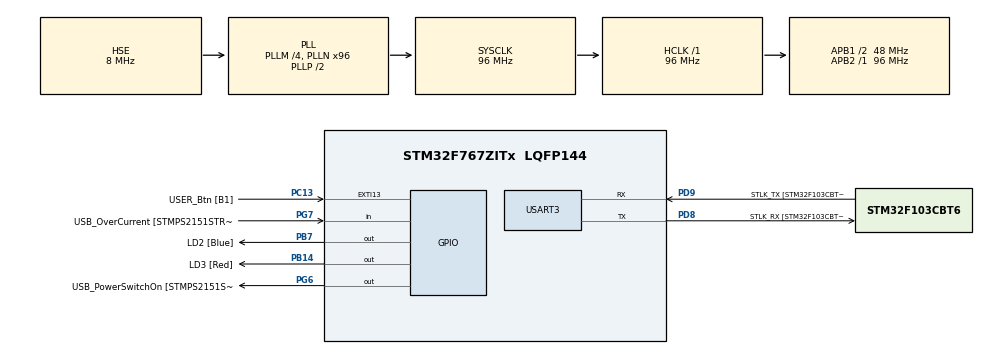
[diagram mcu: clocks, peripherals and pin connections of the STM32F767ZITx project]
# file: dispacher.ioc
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Mcu.Family=STM32F7
Mcu.Name=STM32F767ZITx
Mcu.Package=LQFP144
NVIC.PriorityGroup=NVIC_PRIORITYGROUP_4
NVIC.TIM3_IRQn=true\:0\:0\:false\:false\:true\:true\:true
PA1.GPIO_Label=RMII_REF_CLK [LAN8742A-CZ-TR_REFCLK0]
PA1.Signal=ETH_REF_CLK
PA10.GPIO_Label=USB_ID
PA10.Signal=USB_OTG_FS_ID
PA11.GPIO_Label=USB_DM
PA11.Signal=USB_OTG_FS_DM
PA12.GPIO_Label=USB_DP
PA12.Signal=USB_OTG_FS_DP
PA13.GPIO_Label=TMS
PA13.Mode=Serial_Wire
PA13.Signal=SYS_JTMS-SWDIO
PA14.GPIO_Label=TCK
PA14.Mode=Serial_Wire
PA14.Signal=SYS_JTCK-SWCLK
PA2.GPIO_Label=RMII_MDIO [LAN8742A-CZ-TR_MDIO]
PA2.Signal=ETH_MDIO
PA7.GPIO_Label=RMII_CRS_DV [LAN8742A-CZ-TR_CRS_DV]
PA7.Signal=ETH_CRS_DV
PA8.GPIO_Label=USB_SOF [TP1]
PA8.Signal=USB_OTG_FS_SOF
PA9.GPIO_Label=USB_VBUS
PA9.Signal=USB_OTG_FS_VBUS
PB13.GPIO_Label=RMII_TXD1 [LAN8742A-CZ-TR_TXD1]
PB13.Signal=ETH_TXD1
PB14.GPIO_Label=LD3 [Red]
PB14.Signal=GPIO_Output
PB3.GPIO_Label=SWO
PB3.Signal=SYS_JTDO-SWO
PB7.GPIO_Label=LD2 [Blue]
PB7.Signal=GPIO_Output
PC1.GPIO_Label=RMII_MDC [LAN8742A-CZ-TR_MDC]
PC1.Signal=ETH_MDC
PC13.GPIO_Label=USER_Btn [B1]
PC13.Signal=GPXTI13
PC14/OSC32_IN.Mode=LSE-External-Oscillator
PC14/OSC32_IN.Signal=RCC_OSC32_IN
PC15/OSC32_OUT.Mode=LSE-External-Oscillator
PC15/OSC32_OUT.Signal=RCC_OSC32_OUT
PC4.GPIO_Label=RMII_RXD0 [LAN8742A-CZ-TR_RXD0]
PC4.Signal=ETH_RXD0
PC5.GPIO_Label=RMII_RXD1 [LAN8742A-CZ-TR_RXD1]
PC5.Signal=ETH_RXD1
PD8.GPIO_Label=STLK_RX [STM32F103CBT6_PA3]
PD8.Mode=Asynchronous
PD8.Signal=USART3_TX
PD9.GPIO_Label=STLK_TX [STM32F103CBT6_PA2]
PD9.Mode=Asynchronous
PD9.Signal=USART3_RX
PG11.GPIO_Label=RMII_TX_EN [LAN8742A-CZ-TR_TXEN]
PG11.Signal=ETH_TX_EN
PG13.GPIO_Label=RMII_TXD0 [LAN8742A-CZ-TR_TXD0]
PG13.Signal=ETH_TXD0
PG6.GPIO_Label=USB_PowerSwitchOn [STMPS2151STR_EN]
PG6.Signal=GPIO_Output
PG7.GPIO_Label=USB_OverCurrent [STMPS2151STR_FAULT]
PG7.Signal=GPIO_Input
PH0/OSC_IN.GPIO_Label=MCO [STM32F103CBT6_PA8]
PH0/OSC_IN.Mode=HSE-External-Clock-Source
PH0/OSC_IN.Signal=RCC_OSC_IN
PH1/OSC_OUT.Mode=HSE-External-Clock-Source
PH1/OSC_OUT.Signal=RCC_OSC_OUT
ProjectManager.HeapSize=0x200
ProjectManager.StackSize=0x400
ProjectManager.TargetToolchain=STM32CubeIDE
RCC.48MHZClocksFreq_Value=24000000
RCC.AHBFreq_Value=96000000
RCC.APB1CLKDivider=RCC_HCLK_DIV2
RCC.APB1Freq_Value=48000000
RCC.APB1TimFreq_Value=96000000
RCC.APB2Freq_Value=96000000
RCC.APB2TimFreq_Value=96000000
RCC.CortexFreq_Value=96000000
RCC.HCLKFreq_Value=96000000
RCC.HSE_VALUE=8000000
RCC.HSI_VALUE=16000000
RCC.PLLM=4
RCC.PLLMUL=RCC_PLL_MUL9
RCC.PLLN=96
RCC.PLLQ=4
RCC.PLLSourceVirtual=RCC_PLLSOURCE_HSE
RCC.PRESCALERUSB=RCC_USBCLKSOURCE_PLL_DIV1_5
RCC.SYSCLKFreq_VALUE=96000000
RCC.SYSCLKSource=RCC_SYSCLKSOURCE_PLLCLK
RCC.SYSCLKSourceVirtual=RCC_SYSCLKSOURCE_PLLCLK
RCC.USBFreq_Value=48000000
RCC.VCOOutputFreq_Value=192000000
TIM3.Period=47619
USART3.VirtualMode-Asynchronous=VM_ASYNC
VP_TIM3_VS_ClockSourceINT.Mode=Internal
board=NUCLEO-F767ZI

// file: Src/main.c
/* USER CODE BEGIN Header */
/**
  ******************************************************************************
  * @file           : main.c
  * @brief          : Main program body
  ******************************************************************************
  * @attention
  *
  * <h2><center>&copy; Copyright (c) 2020 STMicroelectronics.
  * All rights reserved.</center></h2>
  *
  * This software component is licensed by ST under BSD 3-Clause license,
  * the "License"; You may not use this file except in compliance with the
  * License. You may obtain a copy of the License at:
  *                        opensource.org/licenses/BSD-3-Clause
  *
  ******************************************************************************
  */
/* USER CODE END Header */

#include "main.h"
#include <stdlib.h>
#include <string.h>

/* USER CODE BEGIN PTD */

typedef struct node {
    char* message;
    char* dep;
    struct node * next;

} node;

/* USER CODE END PTD */

node* head1 = NULL;

node* head2=NULL;

TIM_HandleTypeDef htim3;

UART_HandleTypeDef huart3;

void SystemClock_Config(void);
static void MX_GPIO_Init(void);
static void MX_USART3_UART_Init(void);
static void MX_TIM3_Init(void);
char* callto ();
char* message();
void print_list (node *head);
node* CreateNode(node* head ,char* message,char* dep);
node* DeleteLastNode(node* head);

/* USER CODE BEGIN 0 */
void HAL_TIM_PeriodElapsedCallback(TIM_HandleTypeDef *htim)
{

		if(head2!=NULL)
			{
				print_list(head2);
				DeleteLastNode(head2);
			}

}
/* USER CODE END 0 */

int main(void)
{

  /* MCU Configuration--------------------------------------------------------*/

  /* Reset of all peripherals, Initializes the Flash interface and the Systick. */
  HAL_Init();

  /* Configure the system clock */
  SystemClock_Config();

  /* Initialize all configured peripherals */
  MX_GPIO_Init();
  MX_USART3_UART_Init();
  MX_TIM3_Init();
  /* USER CODE BEGIN 2 */
  HAL_TIM_Base_Start_IT(&htim3);
  /* USER CODE END 2 */

  /* Infinite loop */
  /* USER CODE BEGIN WHILE */
  while (1)
  {
		char* dep; //call to
		char* mes;
		if(head1==NULL)
		{
		dep= callto();
		mes=message();
		head1=CreateNode(head1,mes,dep);
		}
		if(head2==NULL)
		{
			head2=DeleteLastNode(head1);
		}
    /* USER CODE END WHILE */

  }
}

void SystemClock_Config(void)
{
  RCC_OscInitTypeDef RCC_OscInitStruct = {0};
  RCC_ClkInitTypeDef RCC_ClkInitStruct = {0};
  RCC_PeriphCLKInitTypeDef PeriphClkInitStruct = {0};

  /** Configure LSE Drive Capability
  */
  HAL_PWR_EnableBkUpAccess();
  /** Configure the main internal regulator output voltage
  */
  __HAL_RCC_PWR_CLK_ENABLE();
  __HAL_PWR_VOLTAGESCALING_CONFIG(PWR_REGULATOR_VOLTAGE_SCALE3);
  /** Initializes the CPU, AHB and APB busses clocks
  */
  RCC_OscInitStruct.OscillatorType = RCC_OSCILLATORTYPE_HSE;
  RCC_OscInitStruct.HSEState = RCC_HSE_BYPASS;
  RCC_OscInitStruct.PLL.PLLState = RCC_PLL_ON;
  RCC_OscInitStruct.PLL.PLLSource = RCC_PLLSOURCE_HSE;
  RCC_OscInitStruct.PLL.PLLM = 4;
  RCC_OscInitStruct.PLL.PLLN = 96;
  RCC_OscInitStruct.PLL.PLLP = RCC_PLLP_DIV2;
  RCC_OscInitStruct.PLL.PLLQ = 4;
  if (HAL_RCC_OscConfig(&RCC_OscInitStruct) != HAL_OK)
  {
    Error_Handler();
  }
  /** Activate the Over-Drive mode
  */
  if (HAL_PWREx_EnableOverDrive() != HAL_OK)
  {
    Error_Handler();
  }
  /** Initializes the CPU, AHB and APB busses clocks
  */
  RCC_ClkInitStruct.ClockType = RCC_CLOCKTYPE_HCLK|RCC_CLOCKTYPE_SYSCLK
                              |RCC_CLOCKTYPE_PCLK1|RCC_CLOCKTYPE_PCLK2;
  RCC_ClkInitStruct.SYSCLKSource = RCC_SYSCLKSOURCE_PLLCLK;
  RCC_ClkInitStruct.AHBCLKDivider = RCC_SYSCLK_DIV1;
  RCC_ClkInitStruct.APB1CLKDivider = RCC_HCLK_DIV2;
  RCC_ClkInitStruct.APB2CLKDivider = RCC_HCLK_DIV1;

  if (HAL_RCC_ClockConfig(&RCC_ClkInitStruct, FLASH_LATENCY_3) != HAL_OK)
  {
    Error_Handler();
  }
  PeriphClkInitStruct.PeriphClockSelection = RCC_PERIPHCLK_USART3;
  PeriphClkInitStruct.Usart3ClockSelection = RCC_USART3CLKSOURCE_PCLK1;
  if (HAL_RCCEx_PeriphCLKConfig(&PeriphClkInitStruct) != HAL_OK)
  {
    Error_Handler();
  }
}

static void MX_TIM3_Init(void)
{

  TIM_ClockConfigTypeDef sClockSourceConfig = {0};
  TIM_MasterConfigTypeDef sMasterConfig = {0};

  htim3.Instance = TIM3;
  htim3.Init.Prescaler = 150;
  htim3.Init.CounterMode = TIM_COUNTERMODE_UP;
  htim3.Init.Period = 53191;
  htim3.Init.ClockDivision = TIM_CLOCKDIVISION_DIV1;
  htim3.Init.AutoReloadPreload = TIM_AUTORELOAD_PRELOAD_ENABLE;
  if (HAL_TIM_Base_Init(&htim3) != HAL_OK)
  {
    Error_Handler();
  }
  sClockSourceConfig.ClockSource = TIM_CLOCKSOURCE_INTERNAL;
  if (HAL_TIM_ConfigClockSource(&htim3, &sClockSourceConfig) != HAL_OK)
  {
    Error_Handler();
  }
  sMasterConfig.MasterOutputTrigger = TIM_TRGO_RESET;
  sMasterConfig.MasterSlaveMode = TIM_MASTERSLAVEMODE_DISABLE;
  if (HAL_TIMEx_MasterConfigSynchronization(&htim3, &sMasterConfig) != HAL_OK)
  {
    Error_Handler();
  }

}

static void MX_USART3_UART_Init(void)
{

  huart3.Instance = USART3;
  huart3.Init.BaudRate = 115200;
  huart3.Init.WordLength = UART_WORDLENGTH_8B;
  huart3.Init.StopBits = UART_STOPBITS_1;
  huart3.Init.Parity = UART_PARITY_NONE;
  huart3.Init.Mode = UART_MODE_TX_RX;
  huart3.Init.HwFlowCtl = UART_HWCONTROL_NONE;
  huart3.Init.OverSampling = UART_OVERSAMPLING_16;
  huart3.Init.OneBitSampling = UART_ONE_BIT_SAMPLE_DISABLE;
  huart3.AdvancedInit.AdvFeatureInit = UART_ADVFEATURE_NO_INIT;
  if (HAL_UART_Init(&huart3) != HAL_OK)
  {
    Error_Handler();
  }

}

static void MX_GPIO_Init(void)
{
  GPIO_InitTypeDef GPIO_InitStruct = {0};

  /* GPIO Ports Clock Enable */
  __HAL_RCC_GPIOC_CLK_ENABLE();
  __HAL_RCC_GPIOH_CLK_ENABLE();
  __HAL_RCC_GPIOA_CLK_ENABLE();
  __HAL_RCC_GPIOB_CLK_ENABLE();
  __HAL_RCC_GPIOD_CLK_ENABLE();
  __HAL_RCC_GPIOG_CLK_ENABLE();

  /*Configure GPIO pin Output Level */
  HAL_GPIO_WritePin(GPIOB, LD3_Pin|LD2_Pin, GPIO_PIN_RESET);

  /*Configure GPIO pin Output Level */
  HAL_GPIO_WritePin(USB_PowerSwitchOn_GPIO_Port, USB_PowerSwitchOn_Pin, GPIO_PIN_RESET);

  /*Configure GPIO pin : USER_Btn_Pin */
  GPIO_InitStruct.Pin = USER_Btn_Pin;
  GPIO_InitStruct.Mode = GPIO_MODE_IT_RISING;
  GPIO_InitStruct.Pull = GPIO_NOPULL;
  HAL_GPIO_Init(USER_Btn_GPIO_Port, &GPIO_InitStruct);

  /*Configure GPIO pins : RMII_MDC_Pin RMII_RXD0_Pin RMII_RXD1_Pin */
  GPIO_InitStruct.Pin = RMII_MDC_Pin|RMII_RXD0_Pin|RMII_RXD1_Pin;
  GPIO_InitStruct.Mode = GPIO_MODE_AF_PP;
  GPIO_InitStruct.Pull = GPIO_NOPULL;
  GPIO_InitStruct.Speed = GPIO_SPEED_FREQ_VERY_HIGH;
  GPIO_InitStruct.Alternate = GPIO_AF11_ETH;
  HAL_GPIO_Init(GPIOC, &GPIO_InitStruct);

  /*Configure GPIO pins : RMII_REF_CLK_Pin RMII_MDIO_Pin RMII_CRS_DV_Pin */
  GPIO_InitStruct.Pin = RMII_REF_CLK_Pin|RMII_MDIO_Pin|RMII_CRS_DV_Pin;
  GPIO_InitStruct.Mode = GPIO_MODE_AF_PP;
  GPIO_InitStruct.Pull = GPIO_NOPULL;
  GPIO_InitStruct.Speed = GPIO_SPEED_FREQ_VERY_HIGH;
  GPIO_InitStruct.Alternate = GPIO_AF11_ETH;
  HAL_GPIO_Init(GPIOA, &GPIO_InitStruct);

  /*Configure GPIO pin : RMII_TXD1_Pin */
  GPIO_InitStruct.Pin = RMII_TXD1_Pin;
  GPIO_InitStruct.Mode = GPIO_MODE_AF_PP;
  GPIO_InitStruct.Pull = GPIO_NOPULL;
  GPIO_InitStruct.Speed = GPIO_SPEED_FREQ_VERY_HIGH;
  GPIO_InitStruct.Alternate = GPIO_AF11_ETH;
  HAL_GPIO_Init(RMII_TXD1_GPIO_Port, &GPIO_InitStruct);

  /*Configure GPIO pins : LD3_Pin LD2_Pin */
  GPIO_InitStruct.Pin = LD3_Pin|LD2_Pin;
  GPIO_InitStruct.Mode = GPIO_MODE_OUTPUT_PP;
  GPIO_InitStruct.Pull = GPIO_NOPULL;
  GPIO_InitStruct.Speed = GPIO_SPEED_FREQ_LOW;
  HAL_GPIO_Init(GPIOB, &GPIO_InitStruct);

  /*Configure GPIO pin : USB_PowerSwitchOn_Pin */
  GPIO_InitStruct.Pin = USB_PowerSwitchOn_Pin;
  GPIO_InitStruct.Mode = GPIO_MODE_OUTPUT_PP;
  GPIO_InitStruct.Pull = GPIO_NOPULL;
  GPIO_InitStruct.Speed = GPIO_SPEED_FREQ_LOW;
  HAL_GPIO_Init(USB_PowerSwitchOn_GPIO_Port, &GPIO_InitStruct);

  /*Configure GPIO pin : USB_OverCurrent_Pin */
  GPIO_InitStruct.Pin = USB_OverCurrent_Pin;
  GPIO_InitStruct.Mode = GPIO_MODE_INPUT;
  GPIO_InitStruct.Pull = GPIO_NOPULL;
  HAL_GPIO_Init(USB_OverCurrent_GPIO_Port, &GPIO_InitStruct);

  /*Configure GPIO pins : USB_SOF_Pin USB_ID_Pin USB_DM_Pin USB_DP_Pin */
  GPIO_InitStruct.Pin = USB_SOF_Pin|USB_ID_Pin|USB_DM_Pin|USB_DP_Pin;
  GPIO_InitStruct.Mode = GPIO_MODE_AF_PP;
  GPIO_InitStruct.Pull = GPIO_NOPULL;
  GPIO_InitStruct.Speed = GPIO_SPEED_FREQ_VERY_HIGH;
  GPIO_InitStruct.Alternate = GPIO_AF10_OTG_FS;
  HAL_GPIO_Init(GPIOA, &GPIO_InitStruct);

  /*Configure GPIO pin : USB_VBUS_Pin */
  GPIO_InitStruct.Pin = USB_VBUS_Pin;
  GPIO_InitStruct.Mode = GPIO_MODE_INPUT;
  GPIO_InitStruct.Pull = GPIO_NOPULL;
  HAL_GPIO_Init(USB_VBUS_GPIO_Port, &GPIO_InitStruct);

  /*Configure GPIO pins : RMII_TX_EN_Pin RMII_TXD0_Pin */
  GPIO_InitStruct.Pin = RMII_TX_EN_Pin|RMII_TXD0_Pin;
  GPIO_InitStruct.Mode = GPIO_MODE_AF_PP;
  GPIO_InitStruct.Pull = GPIO_NOPULL;
  GPIO_InitStruct.Speed = GPIO_SPEED_FREQ_VERY_HIGH;
  GPIO_InitStruct.Alternate = GPIO_AF11_ETH;
  HAL_GPIO_Init(GPIOG, &GPIO_InitStruct);

}

/* USER CODE BEGIN 4 */

node* CreateNode(node* head ,char* message,char* dep)
{
    node* headTemp = (node*)malloc(sizeof(node));
	if (NULL == headTemp)
	{
		printf ("error in memory allocation\r\n");
		return NULL;
	}
    headTemp->message=message;
    headTemp->dep=dep;
    headTemp->next=head;
    return headTemp;

	//message= callto ();
	//printf ("%s",message);
}

void print_list (node *head)
{
	node *current= head;
	while (current!=NULL) {
		printf ("%s\r\n",current->message);
		printf ("%s\r\n",current->dep);
		current=current->next;
	}
}

char* callto ()
{
	char * dep;
	int r=0;

	r= (rand()%4); //0-3

	switch (r)
	{
		case 0:
		dep= "Police";
		break;
		case 1:
		dep= "Fire";
		break;
		case 2:
		dep= "Ambulance";
		break;
		case 3:
		dep= "City";
		break;

	}

return dep;
}

char* message()
{
	char* message;
	int m=0;

	m= (rand()%10); //0-9

	switch (m)
	{
		case 0:
		message= "Help me!";
		break;
		case 1:
		message= "Help me ASAP!";
		break;
		case 2:
		message= "Fire!";
		break;
		case 3:
		message= "Hurricane";
		break;
		case 4:
		message= "Plumbing Issues";
		break;
		case 5:
		message= "I need help";
		break;
		case 6:
		message= "Hurricane";
		break;
		case 7:
		message= "I lost my hat and my umbrella";
		break;
		case 8:
		message= "I got lost";
		break;
		case 9:
		message= "earthquake";
		break;

	}

return message;

}

node* DeleteLastNode(node* head)
{
	if(head==NULL)
	{

		return NULL;
	}
	if(head==head2)
	{
		free(head2);
		head2=NULL;
		return head2;
	}
	node* prev= head;

	if (prev->next==NULL) //node is the last element in the linked list
	{
		node* headTemp = (node*)malloc(sizeof(node));
		headTemp->message=prev->message;
		headTemp->dep=prev->dep;
		headTemp->next=NULL;
		if(prev==head1)
		{
			head1=NULL;
		}
		else
		{
			head2=NULL;
		}

		return headTemp; //return the last node
	}

	//there are more elements before the last element in the linked list
	node* last=prev->next;

	while(last->next!=NULL)
	{
		prev=prev->next; //previous
		last=last->next; //current
	}
	node* headTemp = (node*)malloc(sizeof(node));
	headTemp->message=last->message;
	headTemp->dep=last->dep;
	headTemp->next=NULL;
	prev->next=NULL; //disconnects the last node form the first linked list
	return headTemp; //return the last node from the linked list.

}

int _write(int file, char *data, int len) {
	// arbitrary timeout 1000
	HAL_UART_Transmit(&huart3, (uint8_t*) data, len, 1000);
	return 0;
}

int _read(int file, char *ptr, int len) {
	HAL_UART_Receive(&huart3, (uint8_t*) ptr++, 1, 0xffff);
	HAL_UART_Transmit(&huart3, (uint8_t *) (ptr - 1), 1, 10);

	if (*(ptr - 1) == 0x0D) {
		HAL_UART_Transmit(&huart3, (uint8_t *) "\n", 1, 10);
		*(ptr - 1) = '\n';
	}

	return 1;
}

/* USER CODE END 4 */

void Error_Handler(void)
{
}

/************************ (C) COPYRIGHT STMicroelectronics *****END OF FILE****/
